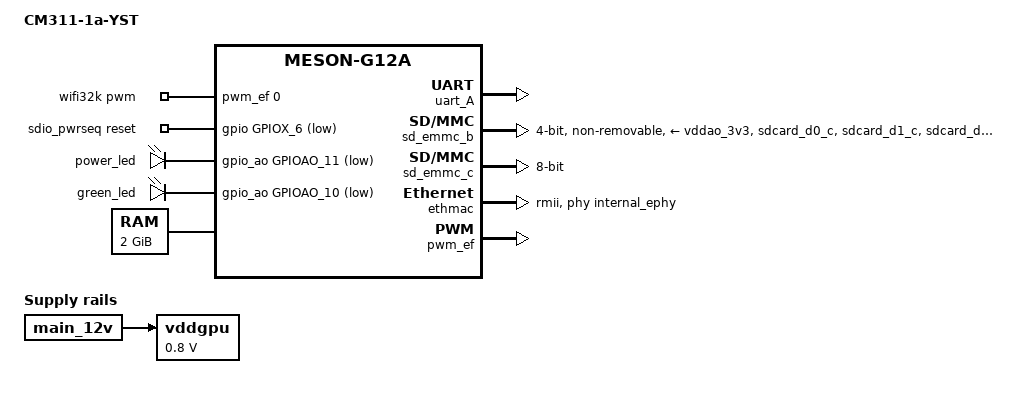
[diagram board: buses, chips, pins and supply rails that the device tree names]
// SPDX-License-Identifier: (GPL-2.0+ OR MIT)
/*
 * Copyright (c) 2018 Amlogic, Inc. All rights reserved.
 * Create by flippy
 *
 * CM311 with MT7661/MT7663S SDIO module (no physical SD card slot).
 * Wi-Fi on SD_EMMC_B via W103D-style sdio_dummy; SD_EMMC_A disabled.
 * Build as meson-g12a-s905l3a-cm311-mt7663.dtb - keep generic cm311.dtb
 * for other SDIO module variants.
 */

/dts-v1/;

#include "meson-g12a-u200.dts"

/ {
	compatible = "cm311,m401a,e900v22c", "zte,w103d", "amlogic,g12a";
	model = "CM311-1a-YST";

	aliases {
		serial1 = &uart_A;
	};

	vddgpu: regulator-vddgpu {
		compatible = "regulator-fixed";
		regulator-name = "mali";
		regulator-min-microvolt = <800000>;
		regulator-max-microvolt = <800000>;
		vin-supply = <&main_12v>;
		regulator-boot-on;
		regulator-always-on;
	};

	wifi32k: wifi32k {
		compatible = "pwm-clock";
		#clock-cells = <0>;
		clock-frequency = <32768>;
		pwms = <&pwm_ef 0 30518 0>; /* PWM_E at 32.768KHz */
	};

	sdio_pwrseq: sdio-pwrseq {
		compatible = "mmc-pwrseq-simple";
		reset-gpios = <&gpio GPIOX_6 GPIO_ACTIVE_LOW>;
		clocks = <&wifi32k>;
		clock-names = "ext_clock";
	};

	leds {
		compatible = "gpio-leds";

		power_led {
			led_name = "power_led";
			gpios = <&gpio_ao GPIOAO_11 GPIO_ACTIVE_LOW>;
			default-state = "on";
		};

		green_led {
			led_name = "green_led";
			gpios = <&gpio_ao GPIOAO_10 GPIO_ACTIVE_LOW>;
			default-state = "off";
			linux,default-trigger = "heartbeat";
		};
	/*
	 *	remote_led {
	 *		led_name = "remote_led";
	 *		gpios = <&gpio_ao GPIOAO_10 GPIO_ACTIVE_LOW>;
	 *		default-state = "off";
	 *		linux,default-trigger = "rc-feedback";
	 *	};
	 */
	};

	memory@0 {
		device_type = "memory";
		reg = <0x0 0x0 0x0 0x80000000>;
	};
};

&uart_A {
	status = "okay";
	pinctrl-0 = <&uart_a_pins>, <&uart_a_cts_rts_pins>;
	uart-has-rtscts;
	pinctrl-names = "default";
};

&mali {
	mali-supply=<&vddgpu>;
};

/*
 * The vendor G12A tree routes SD_EMMC_B to the GPIOX SDIO pads via the
 * virtual sdio_dummy mux. Match the verified W103D four-state pinctrl.
 */
&periphs_pinctrl {
	sdio_b_init_pins: sdio-b-init {
		mux-sd-data {
			groups = "sdcard_d0_c", "sdcard_d1_c", "sdcard_d2_c",
				 "sdcard_d3_c", "sdcard_cmd_c";
			function = "sdcard";
			input-enable;
			bias-pull-up;
			drive-strength-microamp = <4000>;
		};

		mux-sd-clock {
			groups = "sdcard_clk_c";
			function = "sdcard";
			bias-pull-up;
			output-high;
			drive-strength-microamp = <4000>;
		};

		mux-data {
			groups = "GPIOX_0", "GPIOX_1", "GPIOX_2",
				 "GPIOX_3", "GPIOX_5";
			function = "gpio_periphs";
			input-enable;
			bias-pull-up;
			drive-strength-microamp = <4000>;
		};

		mux-clock {
			groups = "GPIOX_4";
			function = "gpio_periphs";
			bias-pull-up;
			output-high;
			drive-strength-microamp = <4000>;
		};

		mux-route {
			groups = "sdio_dummy";
			function = "sdio";
			bias-pull-up;
			output-high;
		};
	};

	sdio_b_init_clk_gate_pins: sdio-b-init-clk-gate {
		mux-sd-data {
			groups = "sdcard_d0_c", "sdcard_d1_c", "sdcard_d2_c",
				 "sdcard_d3_c", "sdcard_cmd_c";
			function = "sdcard";
			input-enable;
			bias-pull-up;
			drive-strength-microamp = <4000>;
		};

		mux-sd-clock {
			groups = "sdcard_clk_c";
			function = "sdcard";
			bias-pull-up;
			output-high;
			drive-strength-microamp = <4000>;
		};

		mux-command {
			groups = "GPIOX_5";
			function = "gpio_periphs";
			input-enable;
			bias-pull-up;
			drive-strength-microamp = <4000>;
		};

		mux-clock {
			groups = "GPIOX_4";
			function = "gpio_periphs";
			bias-pull-up;
			output-high;
			drive-strength-microamp = <4000>;
		};

		mux-route {
			groups = "sdio_dummy";
			function = "sdio";
			bias-pull-up;
			output-high;
		};
	};

	sdio_b_pins: sdio-b {
		mux-sd-clear-data {
			groups = "GPIOC_0", "GPIOC_1", "GPIOC_2",
				 "GPIOC_3", "GPIOC_5";
			function = "gpio_periphs";
			output-high;
		};

		mux-sd-clear-clock {
			groups = "GPIOC_4";
			function = "gpio_periphs";
			output-low;
		};

		mux-data {
			groups = "GPIOX_0", "GPIOX_1", "GPIOX_2",
				 "GPIOX_3", "GPIOX_5";
			function = "gpio_periphs";
			input-enable;
			bias-pull-up;
			drive-strength-microamp = <4000>;
		};

		mux-clock {
			groups = "GPIOX_4";
			function = "gpio_periphs";
			bias-pull-up;
			output-high;
			drive-strength-microamp = <4000>;
		};

		mux-route {
			groups = "sdio_dummy";
			function = "sdio";
			bias-pull-up;
			output-high;
		};
	};

	sdio_b_clk_gate_pins: sdio-b-clk-gate {
		mux-sd-clear-data {
			groups = "GPIOC_0", "GPIOC_1", "GPIOC_2",
				 "GPIOC_3", "GPIOC_5";
			function = "gpio_periphs";
			output-high;
		};

		mux-sd-clear-clock {
			groups = "GPIOC_4";
			function = "gpio_periphs";
			output-low;
		};

		mux-command {
			groups = "GPIOX_5";
			function = "gpio_periphs";
			input-enable;
			bias-pull-up;
			drive-strength-microamp = <4000>;
		};

		mux-clock {
			groups = "GPIOX_4";
			function = "gpio_periphs";
			bias-pull-up;
			output-high;
			drive-strength-microamp = <4000>;
		};

		mux-route {
			groups = "sdio_dummy";
			function = "sdio";
			bias-pull-up;
			output-high;
		};
	};
};

/* SDIO-A is SRAM-limited; leave disabled. No Unisoc wifi@ child. */
&sd_emmc_a {
	status = "disabled";
};

/* MT7661/MT7663S Wi-Fi on SD_EMMC_B (W103D sdio_dummy route). No SD slot. */
&sd_emmc_b {
	pinctrl-0 = <&sdio_b_init_pins>;
	pinctrl-1 = <&sdio_b_init_clk_gate_pins>;
	pinctrl-2 = <&sdio_b_pins>;
	pinctrl-3 = <&sdio_b_clk_gate_pins>;
	pinctrl-names = "default", "clk-gate", "sdio-transfer",
			"sdio-transfer-clk-gate";
	#address-cells = <1>;
	#size-cells = <0>;
	bus-width = <4>;
	cap-sd-highspeed;
	cap-sdio-irq;
	sd-uhs-sdr50;
	sd-uhs-sdr104;
	max-frequency = <200000000>;
	/* Vendor Android holds GPIOX_6 low ~321 ms; 300 ms matches W103D. */
	post-power-on-delay-ms = <300>;
	non-removable;
	disable-wp;
	keep-power-in-suspend;
	zte,sdio-fixed-1-8v;
	mmc-pwrseq = <&sdio_pwrseq>;
	vmmc-supply = <&vddao_3v3>;
	vqmmc-supply = <&vddao_1v8>;
	/delete-property/ cd-gpios;
	status = "okay";
};

/* eMMC */
&sd_emmc_c {
	status = "okay";
	bus-width = <8>;
	cap-mmc-highspeed;
	mmc-ddr-1_8v;
	mmc-hs200-1_8v;
	max-frequency = <200000000>;
};

/* CPU Overclock */
&cpu_opp_table {
	opp-100000000 {
		status = "disabled";
	};

	opp-250000000 {
		status = "disabled";
	};

	opp-500000000 {
		status = "disabled";
	};

	opp-667000000 {
		status = "disabled";
	};

	opp-1908000000 {
		opp-hz = /bits/ 64 <1908000000>;
		opp-microvolt = <1001000>;
	};

	/* 2016mhz :  not test */
	//opp-2016000000 {
	//		opp-hz = /bits/ 64 <2016000000>;
	//		opp-microvolt = <1021000>;
	//};
};

&internal_ephy  {
	max-speed = <100>;
};

&ethmac {
	/delete-property/ resets;
	/delete-property/ reset-names;
	phy-handle = <&internal_ephy>;
	phy-mode = "rmii";
	status = "okay";
};

&pwm_ef {
	pinctrl-0 = <&pwm_e_pins>;
	pinctrl-names = "default";
	clocks = <&xtal>;
	clock-names = "clkin0";
	status = "okay";
};
